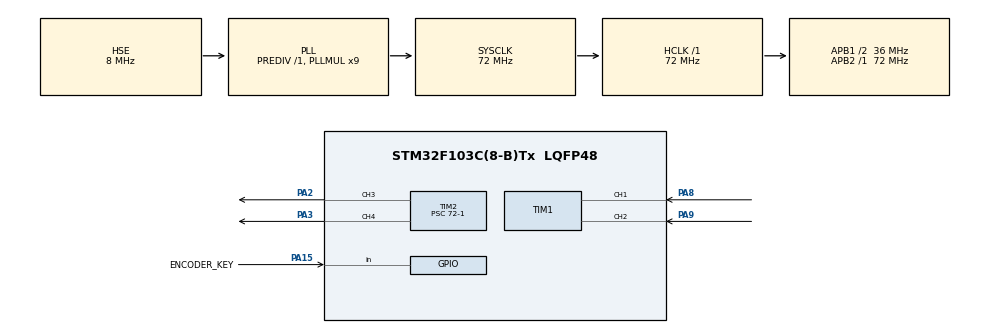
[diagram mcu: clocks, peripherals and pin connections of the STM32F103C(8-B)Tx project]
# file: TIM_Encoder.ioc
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Mcu.Family=STM32F1
Mcu.Name=STM32F103C(8-B)Tx
Mcu.Package=LQFP48
NVIC.PriorityGroup=NVIC_PRIORITYGROUP_4
PA13.Mode=Serial_Wire
PA13.Signal=SYS_JTMS-SWDIO
PA14.Mode=Serial_Wire
PA14.Signal=SYS_JTCK-SWCLK
PA2.Signal=S_TIM2_CH3
PA3.Signal=S_TIM2_CH4
PA8.Signal=S_TIM1_CH1
PA9.Signal=S_TIM1_CH2
PA15.GPIO_Label=ENCODER_KEY
PA15.GPIO_PuPd=GPIO_PULLUP
PA15.Signal=GPIO_Input
PC14-OSC32_IN.Mode=LSE-External-Oscillator
PC14-OSC32_IN.Signal=RCC_OSC32_IN
PC15-OSC32_OUT.Mode=LSE-External-Oscillator
PC15-OSC32_OUT.Signal=RCC_OSC32_OUT
PD0-OSC_IN.Mode=HSE-External-Oscillator
PD0-OSC_IN.Signal=RCC_OSC_IN
PD1-OSC_OUT.Mode=HSE-External-Oscillator
PD1-OSC_OUT.Signal=RCC_OSC_OUT
ProjectManager.HeapSize=0x200
ProjectManager.StackSize=0x400
ProjectManager.TargetToolchain=CMake
RCC.AHBFreq_Value=72000000
RCC.APB1CLKDivider=RCC_HCLK_DIV2
RCC.APB1Freq_Value=36000000
RCC.APB1TimFreq_Value=72000000
RCC.APB2Freq_Value=72000000
RCC.APB2TimFreq_Value=72000000
RCC.HCLKFreq_Value=72000000
RCC.PLLMUL=RCC_PLL_MUL9
RCC.PLLSourceVirtual=RCC_PLLSOURCE_HSE
RCC.SYSCLKFreq_VALUE=72000000
RCC.SYSCLKSource=RCC_SYSCLKSOURCE_PLLCLK
RCC.USBFreq_Value=72000000
SH.S_TIM1_CH1.0=TIM1_CH1,Encoder_Interface
SH.S_TIM1_CH2.0=TIM1_CH2,Encoder_Interface
SH.S_TIM2_CH3.0=TIM2_CH3,PWM Generation3 CH3
SH.S_TIM2_CH4.0=TIM2_CH4,PWM Generation4 CH4
TIM1.EncoderMode=TIM_ENCODERMODE_TI12
TIM1.IC2Polarity=TIM_ICPOLARITY_RISING
TIM2.Channel-PWM\ Generation3\ CH3=TIM_CHANNEL_3
TIM2.Channel-PWM\ Generation4\ CH4=TIM_CHANNEL_4
TIM2.OCMode_PWM-PWM\ Generation4\ CH4=TIM_OCMODE_PWM1
TIM2.Period=100
TIM2.Prescaler=72-1
VP_TIM2_VS_ClockSourceINT.Mode=Internal
board=custom

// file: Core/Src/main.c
/* USER CODE BEGIN Header */
/**
  ******************************************************************************
  * @file           : main.c
  * @brief          : Main program body
  ******************************************************************************
  * @attention
  *
  * Copyright (c) 2026 STMicroelectronics.
  * All rights reserved.
  *
  * This software is licensed under terms that can be found in the LICENSE file
  * in the root directory of this software component.
  * If no LICENSE file comes with this software, it is provided AS-IS.
  *
  ******************************************************************************
  */
/* USER CODE END Header */
#include "main.h"
#include "tim.h"
#include "gpio.h"

/* USER CODE BEGIN Includes */
#include "OLED.h"

/* USER CODE END Includes */

/* USER CODE BEGIN PV */
/* 常见正交编码器转过一个机械档位时，TIM1 在 TI12 模式下计数约 4 次。 */
#define ENCODER_COUNTS_PER_STEP 4
#define PWM_DUTY_MAX 100

/* 保存上次计数值、未凑满一个档位的计数余量，以及当前 PWM 占空比。 */
static uint16_t encoder_previous_count;
static int32_t encoder_count_remainder;
static uint8_t led_duty_percent[2] = {50U, 50U};
/* selected_led 为数组下标：0 表示 LED1，1 表示 LED2。 */
static uint8_t selected_led;
static GPIO_PinState key_stable_state;
static uint32_t key_state_change_tick;

/* USER CODE END PV */

void SystemClock_Config(void);

int main(void) {

    /* MCU Configuration--------------------------------------------------------*/

    /* Reset of all peripherals, Initializes the Flash interface and the Systick. */
    HAL_Init();

    /* Configure the system clock */
    SystemClock_Config();

    /* Initialize all configured peripherals */
    MX_GPIO_Init();
    MX_TIM1_Init();
    MX_TIM2_Init();
    /* USER CODE BEGIN 2 */
    /* 清零编码器计数器，并初始化软件状态。 */
    __HAL_TIM_SET_COUNTER(&htim1, 0);
    encoder_previous_count = 0;  // 保存上次计数值，供下次计算差值使用。
    encoder_count_remainder = 0; // 累加计数变化，每满一个编码器档位就将亮度调整 1%。
    selected_led = 0;
    key_stable_state = HAL_GPIO_ReadPin(ENCODER_KEY_GPIO_Port, ENCODER_KEY_Pin);
    key_state_change_tick = HAL_GetTick(); // 记录按键状态变化的时间戳，用于软件消抖。

    /* 同时启动 TIM1 的 CH1/CH2，开始读取编码器 A/B 相。 */
    if (HAL_TIM_Encoder_Start(&htim1, TIM_CHANNEL_ALL) != HAL_OK) {
        Error_Handler();
    }

    /* 初始化 OLED，并显示初始 PWM 占空比。 */
    OLED_Init();
    OLED_ShowString(1, 1, "LED1 Duty:");
    OLED_ShowNum(2, 1, led_duty_percent[0], 3);
    OLED_ShowChar(2, 4, '%');
    OLED_ShowString(3, 1, "TIM1 CNT:");
    OLED_ShowNum(3, 10, 0, 5);

    /* 主板 LED 为低电平点亮，比较值使用 100%-亮度进行反向映射。 */
    __HAL_TIM_SET_COMPARE(&htim2, TIM_CHANNEL_3, PWM_DUTY_MAX - led_duty_percent[0]);
    __HAL_TIM_SET_COMPARE(&htim2, TIM_CHANNEL_4, PWM_DUTY_MAX - led_duty_percent[1]);
    if (HAL_TIM_PWM_Start(&htim2, TIM_CHANNEL_3) != HAL_OK) {
        Error_Handler();
    }
    if (HAL_TIM_PWM_Start(&htim2, TIM_CHANNEL_4) != HAL_OK) {
        Error_Handler();
    }

    /* USER CODE END 2 */

    /* Infinite loop */
    while (1) {

        /* USER CODE BEGIN 3 */
        /* 按键低电平有效；状态与上次稳定状态不同时，等待 20 ms 消抖。 然后切换LED控制*/
        GPIO_PinState key_read_state = HAL_GPIO_ReadPin(ENCODER_KEY_GPIO_Port, ENCODER_KEY_Pin);
        uint32_t now = HAL_GetTick();
        if (key_read_state == key_stable_state) {
            key_state_change_tick = now;
        } else if (now - key_state_change_tick >= 20U) {
            key_stable_state = key_read_state;
            if (key_stable_state == GPIO_PIN_RESET) {
                selected_led ^= 1U; // 按下取反，0->1，1->0
                encoder_count_remainder = 0; // 清除未凑满一个档位的计数余量，避免切换 LED 时亮度跳变。
                encoder_previous_count = (uint16_t)__HAL_TIM_GET_COUNTER(&htim1); //保存当前计数值，避免切换 LED 时亮度跳变。
                if (selected_led == 0U) {
                    OLED_ShowString(1, 1, "LED1 Duty:");
                } else {
                    OLED_ShowString(1, 1, "LED2 Duty:");
                }
                OLED_ShowNum(2, 1, led_duty_percent[selected_led], 3);
                OLED_ShowChar(2, 4, '%');
            }
        }

        /* 获取 TIM1 当前计数，并计算本次轮询期间的计数变化量。 */

        uint16_t encoder_count = (uint16_t)__HAL_TIM_GET_COUNTER(&htim1); // 获取 TIM1 当前计数值

        // 计算本次轮询期间的计数变化量
        int32_t encoder_delta = (int32_t)encoder_count - (int32_t)encoder_previous_count;
        encoder_previous_count = encoder_count; // 保存本次计数值，供下次计算差值使用。

        // 修正 16 位计数器向上或向下回绕造成的差值跳变。
        // 如当前为65532，上次为 0，则差值为 65532 - 0 = 65532，实际应为 -4,所以需要减去 65536；
        // 如当前为 0，上次为 65532，则差值为 0 - 65532 = -65532，实际应为 +4，所以需要加上 65536。
        if (encoder_delta > 32767) {
            encoder_delta -= 65536;
        } else if (encoder_delta < -32768) {
            encoder_delta += 65536;
        }

        /* 编码器有变化时刷新 OLED 第三行，避免额外保存一份显示计数。 */
        if (encoder_delta != 0) {
            OLED_ShowNum(3, 10, encoder_count, 5);
        }

        /* 累加计数变化，，每满一个编码器档位就将亮度调整 1%。 */
        encoder_count_remainder += encoder_delta;
        int32_t duty_steps = encoder_count_remainder / ENCODER_COUNTS_PER_STEP; // 计算亮度变化步数，整除4，也就是每转过一个档位就增加或减少 1%。
        encoder_count_remainder %= ENCODER_COUNTS_PER_STEP; // 保留未凑满一个档位的计数余量，供下次累加使用。对于负数取余
        if (duty_steps != 0) {
            int32_t new_duty = (int32_t)led_duty_percent[selected_led] + duty_steps;
             // 限制亮度范围在 0~100% 之间
            if (new_duty < 0) new_duty = 0;
            if (new_duty > PWM_DUTY_MAX) new_duty = PWM_DUTY_MAX;

            // 只有当亮度变化时才更新 PWM 比较值和 OLED 显示，避免重复刷新。
            if (new_duty != led_duty_percent[selected_led]) {
                led_duty_percent[selected_led] = (uint8_t)new_duty;
                /* 主板 LED 低电平点亮，亮度越高需缩短 PWM 高电平时间。 */
                uint32_t pulse = PWM_DUTY_MAX - led_duty_percent[selected_led];
                // 根据当前选中的 LED，选择对应的 TIM2 通道，并更新比较值。
                uint32_t channel = (selected_led == 0U) ? TIM_CHANNEL_3 : TIM_CHANNEL_4;
                __HAL_TIM_SET_COMPARE(&htim2, channel, pulse);

                /* 亮度变化后刷新 OLED 数值。 */
                OLED_ShowNum(2, 1, led_duty_percent[selected_led], 3);
                OLED_ShowChar(2, 4, '%');
            }
        }

        /* 短暂延时，限制主循环轮询频率。 */
        HAL_Delay(2);
        /* USER CODE END 3 */
    }
}

void SystemClock_Config(void) {
    RCC_OscInitTypeDef RCC_OscInitStruct = {0};
    RCC_ClkInitTypeDef RCC_ClkInitStruct = {0};

    /** Initializes the RCC Oscillators according to the specified parameters
  * in the RCC_OscInitTypeDef structure.
  */
    RCC_OscInitStruct.OscillatorType = RCC_OSCILLATORTYPE_HSE;
    RCC_OscInitStruct.HSEState = RCC_HSE_ON;
    RCC_OscInitStruct.HSEPredivValue = RCC_HSE_PREDIV_DIV1;
    RCC_OscInitStruct.HSIState = RCC_HSI_ON;
    RCC_OscInitStruct.PLL.PLLState = RCC_PLL_ON;
    RCC_OscInitStruct.PLL.PLLSource = RCC_PLLSOURCE_HSE;
    RCC_OscInitStruct.PLL.PLLMUL = RCC_PLL_MUL9;
    if (HAL_RCC_OscConfig(&RCC_OscInitStruct) != HAL_OK) {
        Error_Handler();
    }

    /** Initializes the CPU, AHB and APB buses clocks
  */
    RCC_ClkInitStruct.ClockType =
        RCC_CLOCKTYPE_HCLK | RCC_CLOCKTYPE_SYSCLK | RCC_CLOCKTYPE_PCLK1 | RCC_CLOCKTYPE_PCLK2;
    RCC_ClkInitStruct.SYSCLKSource = RCC_SYSCLKSOURCE_PLLCLK;
    RCC_ClkInitStruct.AHBCLKDivider = RCC_SYSCLK_DIV1;
    RCC_ClkInitStruct.APB1CLKDivider = RCC_HCLK_DIV2;
    RCC_ClkInitStruct.APB2CLKDivider = RCC_HCLK_DIV1;

    if (HAL_RCC_ClockConfig(&RCC_ClkInitStruct, FLASH_LATENCY_2) != HAL_OK) {
        Error_Handler();
    }
}

void Error_Handler(void) {
    __disable_irq();
    while (1) {
    }
}
